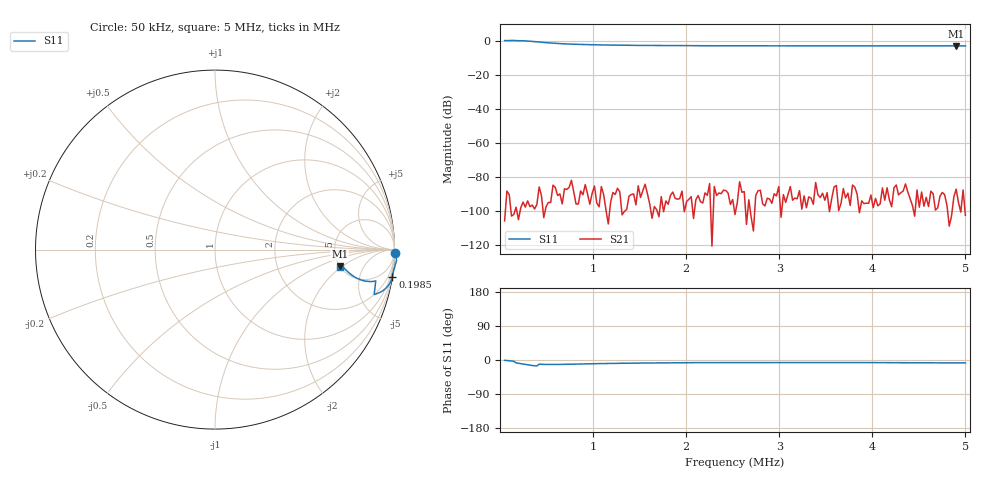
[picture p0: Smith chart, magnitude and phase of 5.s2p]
! NanoVNA-App by OneOfEleven et al v1.1.209 (+OD15)
! Date: 2024-07-30 12:37:12
! Start: 50kHz Stop: 5MHz Points: 201
! S-Parameter data: F S11 S21 S12 S22
# Hz S RI R 50
!  Frequency  S11_Real  S11_Imag  S21_Real  S21_Imag  S12_Real  S12_Imag  S22_Real  S22_Imag
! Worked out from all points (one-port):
!   201 points, 50 kHz to 5 MHz, reference 50 ohm
!   lowest |S11| = -3.1 dB at 4.901 MHz (marker M1), VSWR 5.69, Z = 250 - j91.2 ohm
!   |S11| at or under -10 dB: nowhere
!   S11 on the Smith chart (normalised r, x): 50 kHz: open; 198.5 kHz: 0, -13; 5 MHz: 4.98, -1.85
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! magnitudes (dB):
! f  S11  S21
! 50 kHz  0.0  -105.7
! 74.75 kHz  0.0  -88.2
! 149 kHz  0.1  -101.9
! 173.8 kHz  0.0  -97.6
! 198.5 kHz  0.0  -105.0
! 248 kHz  -0.1  -94.7
! 297.5 kHz  -0.2  -94.0
! 396.5 kHz  -0.7  -96.1
! 520.2 kHz  -1.3  -94.9
! 619.2 kHz  -1.7  -90.8
! 718.2 kHz  -1.9  -87.3
! 891.5 kHz  -2.3  -90.4
! 1.04 MHz  -2.5  -95.1
! 1.288 MHz  -2.7  -88.6
! 1.486 MHz  -2.8  -85.1
! 1.708 MHz  -2.9  -103.3
! 2.079 MHz  -3.0  -104.2
! 2.525 MHz  -3.0  -102.0
! 3.366 MHz  -3.1  -96.0
! 4.183 MHz  -3.1  -93.3
! 4.901 MHz  -3.1  -87.1
! 5 MHz  -3.1  -102.4
